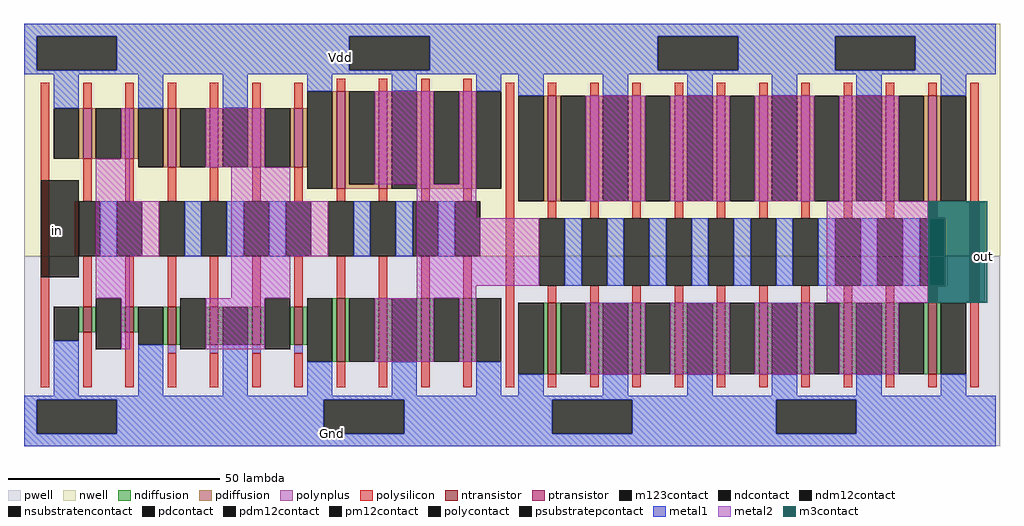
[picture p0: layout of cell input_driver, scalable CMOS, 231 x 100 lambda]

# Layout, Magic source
magic
tech scmos
<< nwell >>
rect 0 45 231 100
<< pwell >>
rect 0 0 231 45
<< ntransistor >>
rect 14 27 16 33
rect 24 27 26 33
rect 34 24 36 33
rect 44 24 46 33
rect 54 24 56 33
rect 64 24 66 33
rect 74 20 76 35
rect 84 20 86 35
rect 94 20 96 35
rect 104 20 106 35
rect 124 17 126 34
rect 134 17 136 34
rect 144 17 146 34
rect 154 17 156 34
rect 164 17 166 34
rect 174 17 176 34
rect 184 17 186 34
rect 194 17 196 34
rect 204 17 206 34
rect 214 17 216 34
<< ptransistor >>
rect 14 68 16 80
rect 24 68 26 80
rect 34 66 36 80
rect 44 66 46 80
rect 54 66 56 80
rect 64 66 66 80
rect 74 61 76 84
rect 84 61 86 84
rect 94 61 96 84
rect 104 61 106 84
rect 124 58 126 83
rect 134 58 136 83
rect 144 58 146 83
rect 154 58 156 83
rect 164 58 166 83
rect 174 58 176 83
rect 184 58 186 83
rect 194 58 196 83
rect 204 58 206 83
rect 214 58 216 83
<< ndiffusion >>
rect 13 27 14 33
rect 16 27 17 33
rect 23 27 24 33
rect 26 27 27 33
rect 33 24 34 33
rect 36 24 37 33
rect 43 24 44 33
rect 46 24 47 33
rect 53 24 54 33
rect 56 24 57 33
rect 63 24 64 33
rect 66 24 67 33
rect 73 20 74 35
rect 76 20 77 35
rect 83 20 84 35
rect 86 20 87 35
rect 93 20 94 35
rect 96 20 97 35
rect 103 20 104 35
rect 106 20 107 35
rect 123 17 124 34
rect 126 17 127 34
rect 133 17 134 34
rect 136 17 137 34
rect 143 17 144 34
rect 146 17 147 34
rect 153 17 154 34
rect 156 17 157 34
rect 163 17 164 34
rect 166 17 167 34
rect 173 17 174 34
rect 176 17 177 34
rect 183 17 184 34
rect 186 17 187 34
rect 193 17 194 34
rect 196 17 197 34
rect 203 17 204 34
rect 206 17 207 34
rect 213 17 214 34
rect 216 17 217 34
<< pdiffusion >>
rect 13 68 14 80
rect 16 68 17 80
rect 23 68 24 80
rect 26 68 27 80
rect 33 66 34 80
rect 36 66 37 80
rect 43 66 44 80
rect 46 66 47 80
rect 53 66 54 80
rect 56 66 57 80
rect 63 66 64 80
rect 66 66 67 80
rect 73 61 74 84
rect 76 62 77 84
rect 83 62 84 84
rect 76 61 84 62
rect 86 61 87 84
rect 93 61 94 84
rect 96 62 97 84
rect 103 62 104 84
rect 96 61 104 62
rect 106 61 107 84
rect 123 58 124 83
rect 126 58 127 83
rect 133 58 134 83
rect 136 58 137 83
rect 143 58 144 83
rect 146 58 147 83
rect 153 58 154 83
rect 156 58 157 83
rect 163 58 164 83
rect 166 58 167 83
rect 173 58 174 83
rect 176 58 177 83
rect 183 58 184 83
rect 186 58 187 83
rect 193 58 194 83
rect 196 58 197 83
rect 203 58 204 83
rect 206 58 207 83
rect 213 58 214 83
rect 216 58 217 83
<< ndcontact >>
rect 7 25 13 33
rect 27 24 33 33
rect 47 24 53 33
rect 67 20 73 35
rect 87 20 93 35
rect 107 20 113 35
rect 117 17 123 34
rect 137 17 143 34
rect 157 17 163 34
rect 177 17 183 34
rect 197 17 203 34
rect 217 17 223 34
<< pdcontact >>
rect 7 68 13 80
rect 27 66 33 80
rect 47 66 53 80
rect 67 61 73 84
rect 87 61 93 84
rect 107 61 113 84
rect 117 58 123 83
rect 137 58 143 83
rect 157 58 163 83
rect 177 58 183 83
rect 197 58 203 83
rect 217 58 223 83
<< psubstratepcontact >>
rect 3 3 22 11
rect 71 3 90 11
rect 125 3 144 11
rect 178 3 197 11
<< nsubstratencontact >>
rect 3 89 22 97
rect 77 89 96 97
rect 150 89 169 97
rect 192 89 211 97
<< polysilicon >>
rect 4 14 6 86
rect 14 80 16 86
rect 24 80 26 86
rect 34 80 36 86
rect 44 80 46 86
rect 54 80 56 86
rect 64 80 66 86
rect 74 84 76 87
rect 84 84 86 87
rect 94 84 96 87
rect 104 84 106 87
rect 14 58 16 68
rect 24 58 26 68
rect 34 58 36 66
rect 44 58 46 66
rect 54 58 56 66
rect 64 58 66 66
rect 74 58 76 61
rect 84 58 86 61
rect 94 58 96 61
rect 104 58 106 61
rect 12 45 13 58
rect 14 33 16 45
rect 14 14 16 27
rect 24 33 26 45
rect 34 33 36 45
rect 24 14 26 27
rect 44 33 46 45
rect 54 33 56 45
rect 34 14 36 22
rect 44 14 46 22
rect 64 33 66 45
rect 74 35 76 45
rect 84 35 86 45
rect 94 35 96 45
rect 104 35 106 45
rect 54 14 56 22
rect 64 14 66 22
rect 74 14 76 20
rect 84 14 86 20
rect 94 14 96 20
rect 104 14 106 20
rect 114 14 116 86
rect 124 83 126 86
rect 134 83 136 86
rect 144 83 146 86
rect 154 83 156 86
rect 164 83 166 86
rect 174 83 176 86
rect 184 83 186 86
rect 194 83 196 86
rect 204 83 206 86
rect 214 83 216 86
rect 124 54 126 58
rect 134 54 136 58
rect 144 54 146 58
rect 154 54 156 58
rect 164 54 166 58
rect 174 54 176 58
rect 184 54 186 58
rect 194 54 196 58
rect 204 54 206 58
rect 214 54 216 58
rect 124 34 126 38
rect 134 34 136 38
rect 144 34 146 38
rect 154 34 156 38
rect 164 34 166 38
rect 174 34 176 38
rect 184 34 186 38
rect 194 34 196 38
rect 204 34 206 38
rect 214 34 216 38
rect 124 14 126 17
rect 134 14 136 17
rect 144 14 146 17
rect 154 14 156 17
rect 164 14 166 17
rect 174 14 176 17
rect 184 14 186 17
rect 194 14 196 17
rect 204 14 206 17
rect 214 14 216 17
rect 224 14 226 86
<< polycontact >>
rect 13 45 18 58
rect 22 45 28 58
rect 42 45 48 58
rect 52 45 58 58
rect 62 45 68 58
rect 82 45 88 58
rect 92 45 98 58
rect 102 45 108 58
rect 132 38 138 54
rect 142 38 148 54
rect 152 38 158 54
rect 162 38 168 54
rect 172 38 178 54
rect 182 38 188 54
rect 192 38 198 54
rect 202 38 208 54
rect 212 38 218 54
<< polynplus >>
rect 34 22 36 24
rect 44 22 46 24
rect 54 22 56 24
rect 64 22 66 24
<< metal1 >>
rect 0 97 230 100
rect 0 89 3 97
rect 22 89 77 97
rect 96 89 150 97
rect 169 89 192 97
rect 211 89 230 97
rect 0 88 230 89
rect 7 80 13 88
rect 27 80 33 88
rect 47 80 53 88
rect 67 84 73 88
rect 87 84 93 88
rect 107 84 113 88
rect 117 83 123 88
rect 137 83 143 88
rect 157 83 163 88
rect 177 83 183 88
rect 197 83 203 88
rect 217 83 223 88
rect 18 45 22 58
rect 38 45 42 58
rect 48 45 52 58
rect 58 45 62 58
rect 78 45 82 58
rect 88 45 92 58
rect 98 45 102 58
rect 128 38 132 54
rect 138 38 142 54
rect 148 38 152 54
rect 158 38 162 54
rect 168 38 172 54
rect 178 38 182 54
rect 188 38 192 54
rect 198 38 202 54
rect 208 38 212 54
rect 7 12 13 25
rect 27 12 33 24
rect 47 12 53 24
rect 67 12 73 20
rect 87 12 93 20
rect 107 12 113 20
rect 117 12 123 17
rect 137 12 143 17
rect 157 12 163 17
rect 177 12 183 17
rect 197 12 203 17
rect 217 12 223 17
rect 0 11 230 12
rect 0 3 3 11
rect 22 3 71 11
rect 90 3 125 11
rect 144 3 178 11
rect 197 3 230 11
rect 0 0 230 3
<< pm12contact >>
rect 32 45 38 58
rect 72 45 78 58
rect 122 38 128 54
<< pdm12contact >>
rect 17 68 23 80
rect 37 66 43 80
rect 57 66 63 80
rect 77 62 83 84
rect 97 62 103 84
rect 127 58 133 83
rect 147 58 153 83
rect 167 58 173 83
rect 187 58 193 83
rect 207 58 213 83
<< ndm12contact >>
rect 17 23 23 35
rect 37 23 43 35
rect 57 23 63 35
rect 77 20 83 35
rect 97 20 103 35
rect 127 17 133 34
rect 147 17 153 34
rect 167 17 173 34
rect 187 17 193 34
rect 207 17 213 34
<< metal2 >>
rect 23 68 25 80
rect 17 58 25 68
rect 43 66 57 80
rect 49 58 63 66
rect 83 62 97 84
rect 103 62 107 84
rect 17 45 32 58
rect 49 45 72 58
rect 93 54 107 62
rect 133 58 147 83
rect 153 58 167 83
rect 173 58 187 83
rect 193 58 207 83
rect 17 35 25 45
rect 49 35 63 45
rect 93 38 122 54
rect 93 35 107 38
rect 23 23 25 35
rect 43 23 57 35
rect 83 20 97 35
rect 103 20 107 35
rect 190 34 214 58
rect 133 17 147 34
rect 153 17 167 34
rect 173 17 187 34
rect 193 17 207 34
<< m3contact >>
rect 214 34 228 58
<< m123contact >>
rect 4 40 13 63
<< labels >>
rlabel m123contact 8 51 8 51 1 in
rlabel m3contact 227 45 227 45 7 out
rlabel metal1 75 92 75 92 1 Vdd
rlabel metal1 73 3 73 3 1 Gnd
<< end >>
